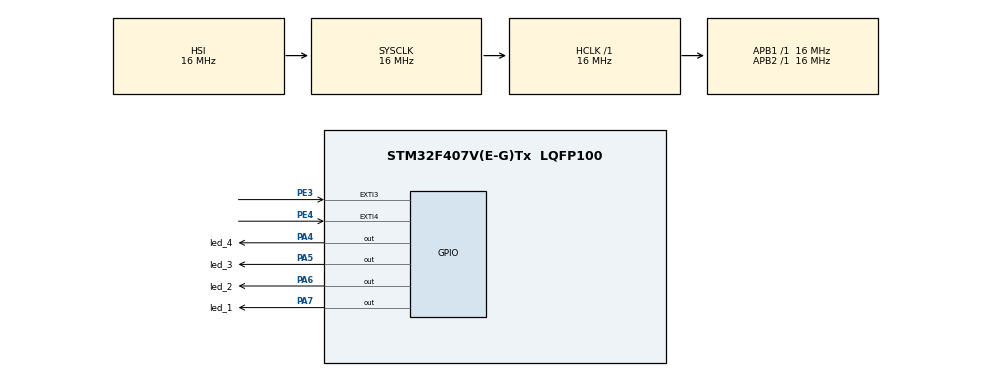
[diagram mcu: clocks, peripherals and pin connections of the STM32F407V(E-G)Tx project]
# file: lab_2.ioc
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Mcu.Family=STM32F4
Mcu.Name=STM32F407V(E-G)Tx
Mcu.Package=LQFP100
NVIC.EXTI3_IRQn=true\:0\:0\:false\:false\:true\:true\:true\:true
NVIC.EXTI4_IRQn=true\:0\:0\:false\:false\:true\:true\:true\:true
NVIC.PriorityGroup=NVIC_PRIORITYGROUP_4
PA4.GPIO_Label=led_4
PA4.Signal=GPIO_Output
PA5.GPIO_Label=led_3
PA5.GPIO_PuPd=GPIO_NOPULL
PA5.Signal=GPIO_Output
PA6.GPIO_Label=led_2
PA6.Signal=GPIO_Output
PA7.GPIO_Label=led_1
PA7.Signal=GPIO_Output
PE3.GPIO_PuPd=GPIO_PULLUP
PE3.Signal=GPXTI3
PE4.GPIO_PuPd=GPIO_PULLUP
PE4.Signal=GPXTI4
ProjectManager.HeapSize=0x200
ProjectManager.StackSize=0x400
ProjectManager.TargetToolchain=STM32CubeIDE
RCC.AHBFreq_Value=16000000
RCC.APB1Freq_Value=16000000
RCC.APB2Freq_Value=16000000
RCC.CortexFreq_Value=16000000
RCC.HSE_VALUE=25000000
RCC.HSI_VALUE=16000000
RCC.LSE_VALUE=32768
RCC.SYSCLKFreq_VALUE=16000000
RCC.VCOOutputFreq_Value=192000000
board=custom

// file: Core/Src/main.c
/* USER CODE BEGIN Header */
/**
  ******************************************************************************
  * @file           : main.c
  * @brief          : Main program body
  ******************************************************************************
  * @attention
  *
  * Copyright (c) 2023 STMicroelectronics.
  * All rights reserved.
  *
  * This software is licensed under terms that can be found in the LICENSE file
  * in the root directory of this software component.
  * If no LICENSE file comes with this software, it is provided AS-IS.
  *
  ******************************************************************************
  */
/* USER CODE END Header */
#include "main.h"

void SystemClock_Config(void);
static void MX_GPIO_Init(void);

/* USER CODE BEGIN 0 */
change_state=0;
led_on=0;

/* USER CODE END 0 */

int main(void)
{

  /* MCU Configuration--------------------------------------------------------*/

  /* Reset of all peripherals, Initializes the Flash interface and the Systick. */
  HAL_Init();

  /* Configure the system clock */
  SystemClock_Config();

  /* Initialize all configured peripherals */
  MX_GPIO_Init();

  /* Infinite loop */
  while (1)
  {

    /* USER CODE BEGIN 3 */
	if(change_state==1){
		switch(led_on){
			case 1:
				HAL_GPIO_WritePin(GPIOA, led_4_Pin|led_3_Pin|led_2_Pin, GPIO_PIN_RESET);
				HAL_GPIO_WritePin(GPIOA, led_1_Pin, GPIO_PIN_SET);
				change_state=0;
				break;
			case 2:
				HAL_GPIO_WritePin(GPIOA, led_4_Pin|led_3_Pin|led_1_Pin, GPIO_PIN_RESET);
				HAL_GPIO_WritePin(GPIOA, led_2_Pin, GPIO_PIN_SET);
				change_state=0;
				break;
			case 3:
				HAL_GPIO_WritePin(GPIOA, led_4_Pin|led_2_Pin|led_1_Pin, GPIO_PIN_RESET);
				HAL_GPIO_WritePin(GPIOA, led_3_Pin, GPIO_PIN_SET);
				change_state=0;
				break;
			case 4:
				HAL_GPIO_WritePin(GPIOA, led_3_Pin|led_2_Pin|led_1_Pin, GPIO_PIN_RESET);
				HAL_GPIO_WritePin(GPIOA, led_4_Pin, GPIO_PIN_SET);
				change_state=0;
				break;
		}
	}

  }
  /* USER CODE END 3 */
}

void SystemClock_Config(void)
{
  RCC_OscInitTypeDef RCC_OscInitStruct = {0};
  RCC_ClkInitTypeDef RCC_ClkInitStruct = {0};

  /** Configure the main internal regulator output voltage
  */
  __HAL_RCC_PWR_CLK_ENABLE();
  __HAL_PWR_VOLTAGESCALING_CONFIG(PWR_REGULATOR_VOLTAGE_SCALE1);

  /** Initializes the RCC Oscillators according to the specified parameters
  * in the RCC_OscInitTypeDef structure.
  */
  RCC_OscInitStruct.OscillatorType = RCC_OSCILLATORTYPE_HSI;
  RCC_OscInitStruct.HSIState = RCC_HSI_ON;
  RCC_OscInitStruct.HSICalibrationValue = RCC_HSICALIBRATION_DEFAULT;
  RCC_OscInitStruct.PLL.PLLState = RCC_PLL_NONE;
  if (HAL_RCC_OscConfig(&RCC_OscInitStruct) != HAL_OK)
  {
    Error_Handler();
  }

  /** Initializes the CPU, AHB and APB buses clocks
  */
  RCC_ClkInitStruct.ClockType = RCC_CLOCKTYPE_HCLK|RCC_CLOCKTYPE_SYSCLK
                              |RCC_CLOCKTYPE_PCLK1|RCC_CLOCKTYPE_PCLK2;
  RCC_ClkInitStruct.SYSCLKSource = RCC_SYSCLKSOURCE_HSI;
  RCC_ClkInitStruct.AHBCLKDivider = RCC_SYSCLK_DIV1;
  RCC_ClkInitStruct.APB1CLKDivider = RCC_HCLK_DIV1;
  RCC_ClkInitStruct.APB2CLKDivider = RCC_HCLK_DIV1;

  if (HAL_RCC_ClockConfig(&RCC_ClkInitStruct, FLASH_LATENCY_0) != HAL_OK)
  {
    Error_Handler();
  }
}

static void MX_GPIO_Init(void)
{
  GPIO_InitTypeDef GPIO_InitStruct = {0};

  /* GPIO Ports Clock Enable */
  __HAL_RCC_GPIOE_CLK_ENABLE();
  __HAL_RCC_GPIOA_CLK_ENABLE();

  /*Configure GPIO pin Output Level */
  HAL_GPIO_WritePin(GPIOA, led_4_Pin|led_3_Pin|led_2_Pin|led_1_Pin, GPIO_PIN_RESET);

  /*Configure GPIO pins : PE3 PE4 */
  GPIO_InitStruct.Pin = GPIO_PIN_3|GPIO_PIN_4;
  GPIO_InitStruct.Mode = GPIO_MODE_IT_RISING;
  GPIO_InitStruct.Pull = GPIO_PULLUP;
  HAL_GPIO_Init(GPIOE, &GPIO_InitStruct);

  /*Configure GPIO pins : led_4_Pin led_3_Pin led_2_Pin led_1_Pin */
  GPIO_InitStruct.Pin = led_4_Pin|led_3_Pin|led_2_Pin|led_1_Pin;
  GPIO_InitStruct.Mode = GPIO_MODE_OUTPUT_PP;
  GPIO_InitStruct.Pull = GPIO_NOPULL;
  GPIO_InitStruct.Speed = GPIO_SPEED_FREQ_LOW;
  HAL_GPIO_Init(GPIOA, &GPIO_InitStruct);

  /* EXTI interrupt init*/
  HAL_NVIC_SetPriority(EXTI3_IRQn, 0, 0);
  HAL_NVIC_EnableIRQ(EXTI3_IRQn);

  HAL_NVIC_SetPriority(EXTI4_IRQn, 0, 0);
  HAL_NVIC_EnableIRQ(EXTI4_IRQn);

}

void Error_Handler(void)
{
  __disable_irq();
  while (1)
  {
  }
}
